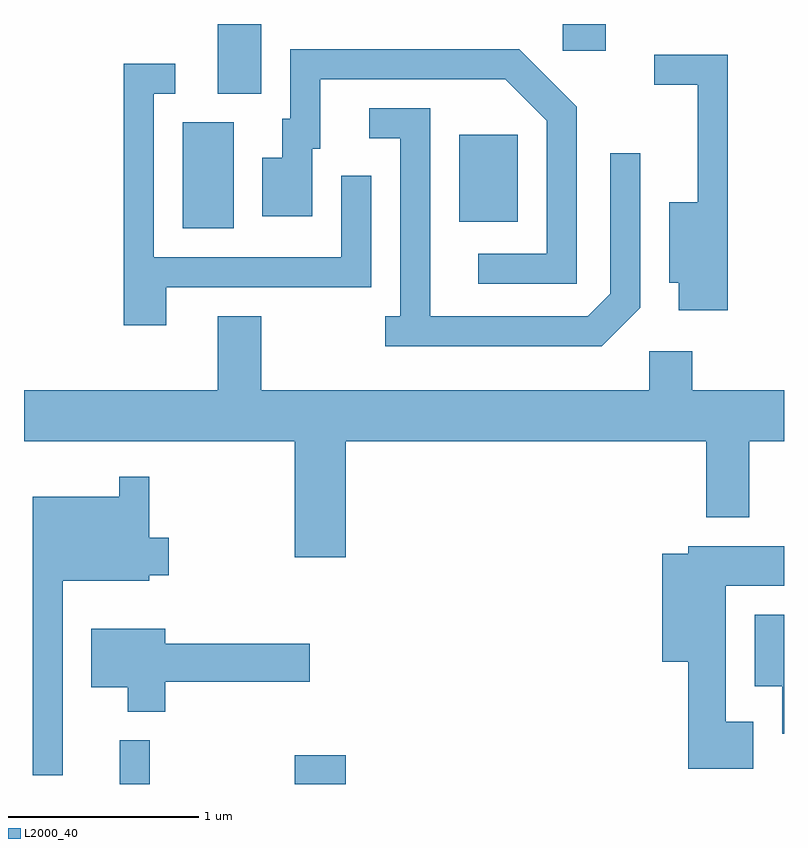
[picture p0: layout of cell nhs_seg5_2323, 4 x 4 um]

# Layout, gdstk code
import gdstk
lib = gdstk.Library(unit=1e-6, precision=1e-09)
def R(c, l, rs):  # rectangles x0, y0, x1, y1
    for r in rs: c.add(gdstk.rectangle(r[:2], r[2:], *l))
def P(c, l, *ps):  # polygons
    for p in ps: c.add(gdstk.Polygon(p, *l))
L2000_40 = (2000, 40)

nhs_seg5_2323 = lib.new_cell('nhs_seg5_2323')
R(nhs_seg5_2323, L2000_40, [(254.116,1486.072,254.274,1486.303), (255.036,1486.072,255.304,1486.224), (254.446,1488.996,254.714,1489.554), (255.901,1489.031,256.209,1489.489), (254.631,1489.706,254.859,1490.072), (256.446,1489.931,256.674,1490.072)])
P(nhs_seg5_2323, L2000_40, [(256.519,1489.637),(256.217,1489.939),(255.011,1489.939),(255.011,1489.574),(254.971,1489.574),(254.971,1489.369),(254.866,1489.369),(254.866,1489.061),(255.129,1489.061),(255.129,1489.416),(255.169,1489.416),(255.169,1489.781),(256.144,1489.781),(256.361,1489.564),(256.361,1488.864),(256.003,1488.864),(256.003,1488.706),(256.519,1488.706)],
  [(257.314,1489.909),(256.928,1489.909),(256.928,1489.751),(257.156,1489.751),(257.156,1489.134),(257.006,1489.134),(257.006,1488.711),(257.056,1488.711),(257.056,1488.566),(257.314,1488.566)],
  [(254.359,1488.686),(255.439,1488.686),(255.439,1489.273),(255.281,1489.273),(255.281,1488.844),(254.294,1488.844),(254.294,1489.706),(254.408,1489.706),(254.408,1489.864),(254.136,1489.864),(254.136,1488.486),(254.359,1488.486)],
  [(256.854,1488.579),(256.854,1489.393),(256.696,1489.393),(256.696,1488.652),(256.579,1488.534),(255.749,1488.534),(255.749,1489.629),(255.428,1489.629),(255.428,1489.471),(255.591,1489.471),(255.591,1488.534),(255.513,1488.534),(255.513,1488.376),(256.652,1488.376)],
  [(255.304,1487.876),(257.201,1487.876),(257.201,1487.476),(257.429,1487.476),(257.429,1487.876),(257.611,1487.876),(257.611,1488.144),(257.129,1488.144),(257.129,1488.349),(256.901,1488.349),(256.901,1488.144),(254.859,1488.144),(254.859,1488.534),(254.631,1488.534),(254.631,1488.144),(253.611,1488.144),(253.611,1487.876),(255.036,1487.876),(255.036,1487.266),(255.304,1487.266)],
  [(253.814,1487.141),(254.269,1487.141),(254.269,1487.171),(254.374,1487.171),(254.374,1487.369),(254.269,1487.369),(254.269,1487.688),(254.111,1487.688),(254.111,1487.584),(253.656,1487.584),(253.656,1486.118),(253.814,1486.118)],
  [(257.449,1486.399),(257.304,1486.399),(257.304,1487.116),(257.611,1487.116),(257.611,1487.324),(257.106,1487.324),(257.106,1487.284),(256.971,1487.284),(256.971,1486.716),(257.106,1486.716),(257.106,1486.151),(257.449,1486.151)],
  [(257.611,1486.964),(257.456,1486.964),(257.456,1486.586),(257.601,1486.586),(257.601,1486.336),(257.611,1486.336)],
  [(254.354,1486.611),(255.114,1486.611),(255.114,1486.809),(254.354,1486.809),(254.354,1486.889),(253.966,1486.889),(253.966,1486.581),(254.156,1486.581),(254.156,1486.451),(254.354,1486.451)])

lib.write_gds('nhs_seg5_2323.gds')
